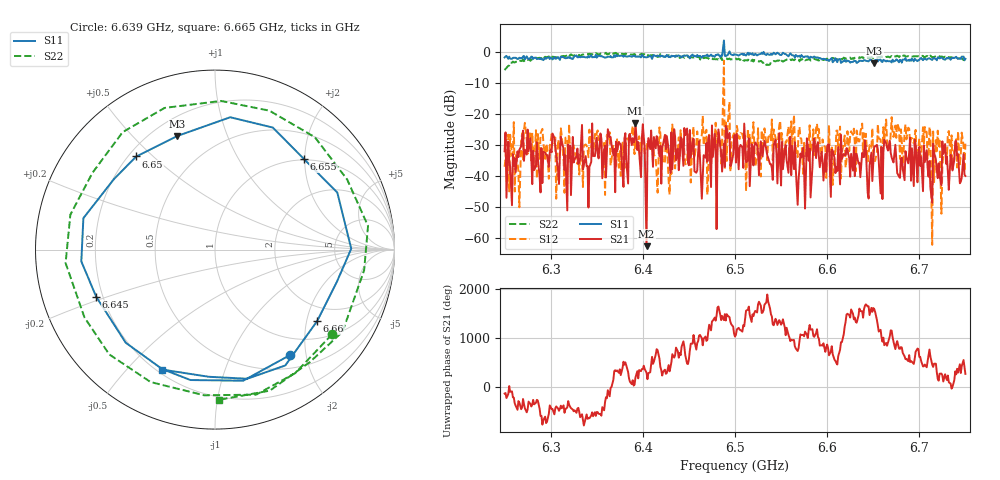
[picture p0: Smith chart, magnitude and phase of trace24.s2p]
# Hz S RI R 50
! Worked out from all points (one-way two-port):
!   401 points, 6.25 GHz to 6.75 GHz, reference 50 ohm
!   highest |S21| = -22.88 dB at 6.392 GHz (marker M1); lowest = -62.7 dB at 6.404 GHz (marker M2)
!   lowest |S11| = -3.5 dB at 6.651 GHz (marker M3), VSWR 5.00, Z = 14.9 + j34 ohm
!   |S11| at or under -10 dB: nowhere
!   |S22| runs from -5.8 to -0.2 dB; largest |S21 - S12| = 0.76
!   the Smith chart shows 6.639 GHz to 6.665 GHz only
!   S11 on the Smith chart (normalised r, x): 6.639 GHz: 0.70, -1.72; 6.645 GHz: 0.17, -0.19; 6.65 GHz: 0.23, +0.44; 6.655 GHz: 0.98, +1.99; 6.66 GHz: 1.51, -2.32; 6.665 GHz: 0.22, -0.63
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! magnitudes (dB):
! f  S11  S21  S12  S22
! 6.25 GHz  -1.7  -32.0  -37.0  -5.8
! 6.264 GHz  -2.2  -32.1  -35.8  -3.1
! 6.289 GHz  -1.9  -45.3  -26.3  -2.0
! 6.334 GHz  -1.4  -23.5  -34.3  -0.8
! 6.392 GHz  -1.5  -22.9  -28.3  -0.9
! 6.404 GHz  -1.7  -62.7  -32.2  -0.6
! 6.418 GHz  -1.1  -33.6  -24.3  -1.4
! 6.5 GHz  -0.8  -26.8  -31.0  -2.2
! 6.584 GHz  -1.7  -37.3  -29.3  -2.3
! 6.606 GHz  -3.2  -31.8  -42.9  -1.8
! 6.639 GHz  -2.8  -33.9  -33.2  -1.9
! 6.645 GHz  -2.9  -47.3  -32.6  -1.6
! 6.65 GHz  -3.4  -36.1  -33.4  -1.9
! 6.651 GHz  -3.5  -30.5  -34.9  -1.6
! 6.655 GHz  -3.0  -31.4  -23.2  -1.6
! 6.66 GHz  -3.2  -47.5  -32.3  -1.5
! 6.665 GHz  -2.7  -30.9  -28.5  -1.5
! 6.668 GHz  -2.9  -28.6  -31.5  -1.7
! 6.706 GHz  -2.0  -35.5  -24.2  -1.6
! 6.716 GHz  -1.9  -32.5  -42.0  -1.6
! 6.72 GHz  -1.7  -40.7  -25.4  -1.4
! 6.75 GHz  -2.1  -40.0  -29.6  -2.2
